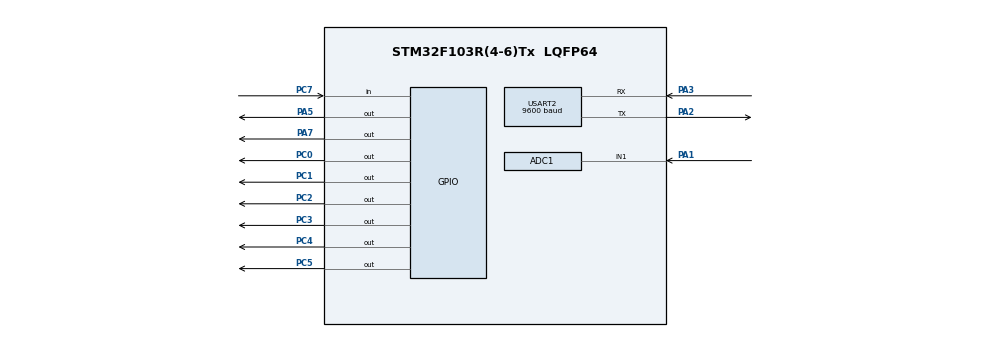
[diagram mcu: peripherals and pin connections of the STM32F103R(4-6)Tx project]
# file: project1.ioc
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ADC1.Channel-0\#ChannelRegularConversion=ADC_CHANNEL_1
ADC1.ContinuousConvMode=ENABLE
ADC1.NbrOfConversionFlag=1
ADC1.Rank-0\#ChannelRegularConversion=1
ADC1.SamplingTime-0\#ChannelRegularConversion=ADC_SAMPLETIME_1CYCLE_5
ADC1.master=1
Mcu.Family=STM32F1
Mcu.Name=STM32F103R(4-6)Tx
Mcu.Package=LQFP64
NVIC.PriorityGroup=NVIC_PRIORITYGROUP_4
PA1.Signal=ADCx_IN1
PA2.Mode=Asynchronous
PA2.Signal=USART2_TX
PA3.Mode=Asynchronous
PA3.Signal=USART2_RX
PA5.Signal=GPIO_Output
PA7.Signal=GPIO_Output
PC0.Signal=GPIO_Output
PC1.Signal=GPIO_Output
PC14-OSC32_IN.Mode=LSE-External-Oscillator
PC14-OSC32_IN.Signal=RCC_OSC32_IN
PC15-OSC32_OUT.Mode=LSE-External-Oscillator
PC15-OSC32_OUT.Signal=RCC_OSC32_OUT
PC2.Signal=GPIO_Output
PC3.Signal=GPIO_Output
PC4.Signal=GPIO_Output
PC5.Signal=GPIO_Output
PC7.GPIO_Mode=GPIO_MODE_INPUT
PC7.GPIO_PuPd=GPIO_PULLUP
PC7.Signal=GPIO_Input
PD0-OSC_IN.Mode=HSE-External-Clock-Source
PD0-OSC_IN.Signal=RCC_OSC_IN
PD1-OSC_OUT.Mode=HSE-External-Clock-Source
PD1-OSC_OUT.Signal=RCC_OSC_OUT
ProjectManager.HeapSize=0x200
ProjectManager.StackSize=0x400
ProjectManager.TargetToolchain=STM32CubeIDE
RCC.APB1Freq_Value=8000000
RCC.APB2Freq_Value=8000000
SH.ADCx_IN1.0=ADC1_IN1,IN1
USART2.BaudRate=9600
USART2.VirtualMode=VM_ASYNC
VP_SYS_VS_ND.Mode=No_Debug
board=custom

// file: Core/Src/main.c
/* USER CODE BEGIN Header */
/**
  ******************************************************************************
  * @file           : main.c
  * @brief          : Main program body
  ******************************************************************************
  * @attention
  *
  * Copyright (c) 2026 STMicroelectronics.
  * All rights reserved.
  *
  * This software is licensed under terms that can be found in the LICENSE file
  * in the root directory of this software component.
  * If no LICENSE file comes with this software, it is provided AS-IS.
  *
  ******************************************************************************
  */
/* USER CODE END Header */
#include "main.h"

/* USER CODE BEGIN Includes */
#include <stdio.h>
#include <string.h>
#include "lcd.h"
/* USER CODE END Includes */

/* USER CODE BEGIN PTD */
float Read_Temperature(void);
/* USER CODE END PTD */

/* USER CODE BEGIN PD */
#define TEMP_THRESHOLD 40.0
/* USER CODE END PD */

ADC_HandleTypeDef hadc1;

UART_HandleTypeDef huart2;

/* USER CODE BEGIN PV */
// 0 = Celsius mode, 1 = Fahrenheit mode
uint8_t show_fahrenheit = 0;
/* USER CODE END PV */

void SystemClock_Config(void);
static void MX_GPIO_Init(void);
static void MX_ADC1_Init(void);
static void MX_USART2_UART_Init(void);

/* USER CODE BEGIN 0 */
uint32_t adc_val1 = 0;
/* USER CODE END 0 */

int main(void)
{

  /* MCU Configuration--------------------------------------------------------*/

  /* Reset of all peripherals, Initializes the Flash interface and the Systick. */
  HAL_Init();

  /* Configure the system clock */
  SystemClock_Config();

  /* Initialize all configured peripherals */
  MX_GPIO_Init();
  MX_ADC1_Init();
  MX_USART2_UART_Init();
  /* USER CODE BEGIN 2 */
  Lcd_PortType ports[] = { GPIOC, GPIOC, GPIOC, GPIOC };
  Lcd_PinType pins[] = {GPIO_PIN_0, GPIO_PIN_1, GPIO_PIN_2, GPIO_PIN_3};
  Lcd_HandleTypeDef lcd;
  lcd = Lcd_create(ports, pins, GPIOC, GPIO_PIN_4, GPIOC, GPIO_PIN_5, LCD_4_BIT_MODE);

  char msg[40];
  /* USER CODE END 2 */

  /* Infinite loop */
  while (1)
  {

    /* USER CODE BEGIN 3 */
      float temp = Read_Temperature();

      // --- BUTTON READING & DEBOUNCING LOGIC ON PC7 ---
      if (HAL_GPIO_ReadPin(GPIOC, GPIO_PIN_7) == GPIO_PIN_RESET)
      {
          HAL_Delay(50); // Wait 50 milliseconds to let the button stop bouncing

          if (HAL_GPIO_ReadPin(GPIOC, GPIO_PIN_7) == GPIO_PIN_RESET)
          {
              show_fahrenheit = !show_fahrenheit; // Toggle between 0 and 1
              Lcd_clear(&lcd); // Clear screen to prevent overlapping text

              // Wait until the user lets go of the button
              while(HAL_GPIO_ReadPin(GPIOC, GPIO_PIN_7) == GPIO_PIN_RESET);
          }
      }

      // --- DISPLAY LOGIC ---
      Lcd_cursor(&lcd, 1,0);
      Lcd_string(&lcd, "Temp: ");

      if (show_fahrenheit == 0)
      {
          display_int_on_lcd(&lcd, (int)temp);
          Lcd_string(&lcd, " C  ");
          sprintf(msg, "Temperature: %.2f C\r\n", temp);
      }
      else
      {
          float temp_f = (temp * 9.0 / 5.0) + 32.0;
          display_int_on_lcd(&lcd, (int)temp_f);
          Lcd_string(&lcd, " F  ");
          sprintf(msg, "Temperature: %.2f F\r\n", temp_f);
      }

      // --- ALARM & FAN LOGIC (Threshold Check) ---
      if (temp > TEMP_THRESHOLD)
      {
          // Turn LED ON (PA5) and FAN ON (PA7)
          HAL_GPIO_WritePin(GPIOA, GPIO_PIN_5, GPIO_PIN_SET);
          HAL_GPIO_WritePin(GPIOA, GPIO_PIN_7, GPIO_PIN_SET);
          Lcd_cursor(&lcd, 2, 0);
          Lcd_string(&lcd, "!!! TEMP HIGH !!!");
      }
      else
      {
          // Turn LED OFF (PA5) and FAN OFF (PA7)
          HAL_GPIO_WritePin(GPIOA, GPIO_PIN_5, GPIO_PIN_RESET);
          HAL_GPIO_WritePin(GPIOA, GPIO_PIN_7, GPIO_PIN_RESET);
          Lcd_cursor(&lcd, 2, 0);
          Lcd_string(&lcd, "                 "); // Clears the warning
      }

      // Send data to Virtual Terminal
      HAL_UART_Transmit(&huart2, (uint8_t*)msg, strlen(msg), HAL_MAX_DELAY);

      HAL_Delay(100); // Shorter delay so the button feels fast
  }
  /* USER CODE END 3 */
}

void SystemClock_Config(void)
{
  RCC_OscInitTypeDef RCC_OscInitStruct = {0};
  RCC_ClkInitTypeDef RCC_ClkInitStruct = {0};
  RCC_PeriphCLKInitTypeDef PeriphClkInit = {0};

  /** Initializes the RCC Oscillators according to the specified parameters
  * in the RCC_OscInitTypeDef structure.
  */
  RCC_OscInitStruct.OscillatorType = RCC_OSCILLATORTYPE_HSI;
  RCC_OscInitStruct.HSIState = RCC_HSI_ON;
  RCC_OscInitStruct.HSICalibrationValue = RCC_HSICALIBRATION_DEFAULT;
  RCC_OscInitStruct.PLL.PLLState = RCC_PLL_NONE;
  if (HAL_RCC_OscConfig(&RCC_OscInitStruct) != HAL_OK)
  {
    Error_Handler();
  }

  /** Initializes the CPU, AHB and APB buses clocks
  */
  RCC_ClkInitStruct.ClockType = RCC_CLOCKTYPE_HCLK|RCC_CLOCKTYPE_SYSCLK
                              |RCC_CLOCKTYPE_PCLK1|RCC_CLOCKTYPE_PCLK2;
  RCC_ClkInitStruct.SYSCLKSource = RCC_SYSCLKSOURCE_HSI;
  RCC_ClkInitStruct.AHBCLKDivider = RCC_SYSCLK_DIV1;
  RCC_ClkInitStruct.APB1CLKDivider = RCC_HCLK_DIV1;
  RCC_ClkInitStruct.APB2CLKDivider = RCC_HCLK_DIV1;

  if (HAL_RCC_ClockConfig(&RCC_ClkInitStruct, FLASH_LATENCY_0) != HAL_OK)
  {
    Error_Handler();
  }
  PeriphClkInit.PeriphClockSelection = RCC_PERIPHCLK_ADC;
  PeriphClkInit.AdcClockSelection = RCC_ADCPCLK2_DIV2;
  if (HAL_RCCEx_PeriphCLKConfig(&PeriphClkInit) != HAL_OK)
  {
    Error_Handler();
  }
}

static void MX_ADC1_Init(void)
{

  ADC_ChannelConfTypeDef sConfig = {0};

  /** Common config
  */
  hadc1.Instance = ADC1;
  hadc1.Init.ScanConvMode = ADC_SCAN_DISABLE;
  hadc1.Init.ContinuousConvMode = ENABLE;
  hadc1.Init.DiscontinuousConvMode = DISABLE;
  hadc1.Init.ExternalTrigConv = ADC_SOFTWARE_START;
  hadc1.Init.DataAlign = ADC_DATAALIGN_RIGHT;
  hadc1.Init.NbrOfConversion = 1;
  if (HAL_ADC_Init(&hadc1) != HAL_OK)
  {
    Error_Handler();
  }

  /** Configure Regular Channel
  */
  sConfig.Channel = ADC_CHANNEL_1;
  sConfig.Rank = ADC_REGULAR_RANK_1;
  sConfig.SamplingTime = ADC_SAMPLETIME_1CYCLE_5;
  if (HAL_ADC_ConfigChannel(&hadc1, &sConfig) != HAL_OK)
  {
    Error_Handler();
  }

}

static void MX_USART2_UART_Init(void)
{

  huart2.Instance = USART2;
  huart2.Init.BaudRate = 9600;
  huart2.Init.WordLength = UART_WORDLENGTH_8B;
  huart2.Init.StopBits = UART_STOPBITS_1;
  huart2.Init.Parity = UART_PARITY_NONE;
  huart2.Init.Mode = UART_MODE_TX_RX;
  huart2.Init.HwFlowCtl = UART_HWCONTROL_NONE;
  huart2.Init.OverSampling = UART_OVERSAMPLING_16;
  if (HAL_UART_Init(&huart2) != HAL_OK)
  {
    Error_Handler();
  }

}

static void MX_GPIO_Init(void)
{
  GPIO_InitTypeDef GPIO_InitStruct = {0};

  /* GPIO Ports Clock Enable */
  __HAL_RCC_GPIOC_CLK_ENABLE();
  __HAL_RCC_GPIOD_CLK_ENABLE();
  __HAL_RCC_GPIOA_CLK_ENABLE();

  /*Configure GPIO pin Output Level */
  HAL_GPIO_WritePin(GPIOC, GPIO_PIN_0|GPIO_PIN_1|GPIO_PIN_2|GPIO_PIN_3
                          |GPIO_PIN_4|GPIO_PIN_5, GPIO_PIN_RESET);

  /*Configure GPIO pin Output Level */
  HAL_GPIO_WritePin(GPIOA, GPIO_PIN_5|GPIO_PIN_7, GPIO_PIN_RESET);

  /*Configure GPIO pins : PC0 PC1 PC2 PC3
                           PC4 PC5 */
  GPIO_InitStruct.Pin = GPIO_PIN_0|GPIO_PIN_1|GPIO_PIN_2|GPIO_PIN_3
                          |GPIO_PIN_4|GPIO_PIN_5;
  GPIO_InitStruct.Mode = GPIO_MODE_OUTPUT_PP;
  GPIO_InitStruct.Pull = GPIO_NOPULL;
  GPIO_InitStruct.Speed = GPIO_SPEED_FREQ_LOW;
  HAL_GPIO_Init(GPIOC, &GPIO_InitStruct);

  /*Configure GPIO pins : PA5 PA7 */
  GPIO_InitStruct.Pin = GPIO_PIN_5|GPIO_PIN_7;
  GPIO_InitStruct.Mode = GPIO_MODE_OUTPUT_PP;
  GPIO_InitStruct.Pull = GPIO_NOPULL;
  GPIO_InitStruct.Speed = GPIO_SPEED_FREQ_LOW;
  HAL_GPIO_Init(GPIOA, &GPIO_InitStruct);

  /*Configure GPIO pin : PC7 */
  GPIO_InitStruct.Pin = GPIO_PIN_7;
  GPIO_InitStruct.Mode = GPIO_MODE_INPUT;
  GPIO_InitStruct.Pull = GPIO_PULLUP;
  HAL_GPIO_Init(GPIOC, &GPIO_InitStruct);

}

/* USER CODE BEGIN 4 */
float Read_Temperature(void)
{
    HAL_ADC_Start(&hadc1);
    HAL_ADC_PollForConversion(&hadc1, HAL_MAX_DELAY);
    adc_val1 = HAL_ADC_GetValue(&hadc1);

    float voltage = (adc_val1 * 5.0) / 4096.0;
    float temperature = (voltage - 0.5) * 100.0;
    return temperature;
}
/* USER CODE END 4 */

void Error_Handler(void)
{
  __disable_irq();
  while (1)
  {
  }
}
